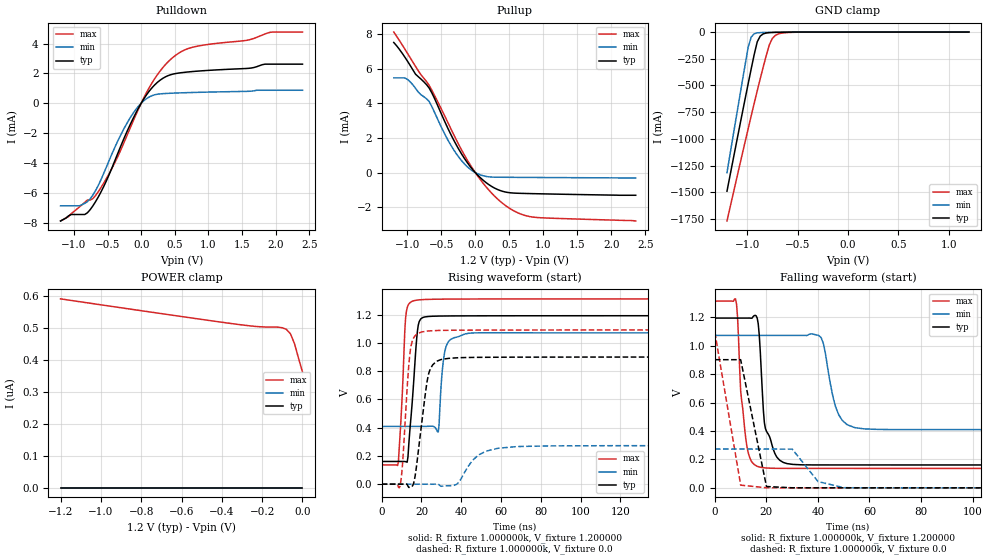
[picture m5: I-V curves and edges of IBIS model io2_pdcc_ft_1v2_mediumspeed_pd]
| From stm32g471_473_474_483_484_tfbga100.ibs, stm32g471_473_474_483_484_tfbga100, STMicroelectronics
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|   Model io2_pdcc_ft_1v2_mediumspeed_pd
[Model]  io2_pdcc_ft_1v2_mediumspeed_pd
Model_type I/O
Polarity   Non-Inverting
Enable   Active-Low
Vinl =   0.360000V
Vinh =   0.840000V
Vmeas =  0.600000V
Cref =   30.000000pF
Rref =   100.000000M
Vref =   0.0V
C_comp   3.923200pF   3.103700pF   4.923200pF
[Temperature Range]   25.000000   -40.000000   0.125000k
[Pullup Reference]   1.200000V   1.080000V   1.320000V
[Pulldown Reference]   0.0V   0.0V   0.0V
[POWER Clamp Reference]   1.200000V   1.080000V   1.320000V
[GND Clamp Reference]   0.0V   0.0V   0.0V
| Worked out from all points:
|   slope of the pulldown table from 0 to 0.18 V, typ, clamps not added: 160 ohm
|   slope of the pullup table from 0 to 0.18 V, typ, clamps not added: 281 ohm
|   GND clamp passes 1 mA (typ) near -0.58 V on its own axis
|   rising waveform, R_fixture 1.000000k, V_fixture 1.200000: 20-80 % time 3.26ns typ, 2.49ns min, 2.26ns max; typ from 0.161 V to 1.19 V
|   rising waveform, R_fixture 1.000000k, V_fixture 0.0: 20-80 % time 4.78ns typ, 9.71ns min, 2.98ns max; typ from 0 V to 0.901 V
|   falling waveform, R_fixture 1.000000k, V_fixture 1.200000: 20-80 % time 3.5ns typ, 4.5ns min, 2.72ns max; typ from 1.19 V to 0.161 V
|   falling waveform, R_fixture 1.000000k, V_fixture 0.0: 20-80 % time 6.07ns typ, 7.17ns min, 6.11ns max; typ from 0.901 V to 0 V
[Pulldown]
|Voltage   I(typ)   I(min)   I(max)
-1.2V     -7.9mA     -6.879mA   -7.9mA
-920mV    -7.463mA   -6.879mA   -6.96mA
-720mV    -6.893mA   -6.163mA   -6.401mA
-440mV    -4.389mA   -3.449mA   -4.412mA
-120mV    -1.022mA   -674.6uA   -1.201mA
80mV      569.2uA    307.2uA    721.9uA
320mV     1.664mA    639.8uA    2.378mA
520mV     1.996mA    684uA      3.24mA
760mV     2.123mA    719uA      3.749mA
1.6V      2.341mA    798.9uA    4.245mA
1.92V     2.619mA    869.6uA    4.756mA
2.4V      2.619mA    869.6uA    4.774mA
[Pullup]
|Voltage   I(typ)   I(min)   I(max)
-1.2V     7.53mA     5.482mA    8.135mA
-1V       6.461mA    5.401mA    6.913mA
-880mV    5.698mA    4.884mA    6.147mA
-680mV    4.901mA    4.121mA    5.054mA
-360mV    2.208mA    1.588mA    2.539mA
-240mV    1.328mA    879.1uA    1.591mA
-120mV    590.4uA    347.2uA    740.8uA
120mV     -457uA     -187.5uA   -639uA
400mV     -1.08mA    -267.8uA   -1.772mA
600mV     -1.19mA    -273.6uA   -2.279mA
840mV     -1.216mA   -279.5uA   -2.568mA
2.36V     -1.31mA    -310uA     -2.8mA
[GND_clamp]
|Voltage   I(typ)   I(min)   I(max)
-1.2V     -1.489A    -1.316A    -1.768A
-990mV    -483.9mA   -143.3mA   -905.1mA
-960mV    -345.5mA   -47.07mA   -785.1mA
-930mV    -210.2mA   -16.8mA    -666.5mA
-900mV    -91.91mA   -7.911mA   -550mA
-870mV    -37.66mA   -5.181mA   -436mA
-780mV    -5.842mA   -2.737mA   -119.5mA
-750mV    -4.316mA   -2.184mA   -59.88mA
-720mV    -3.389mA   -1.679mA   -31.04mA
-660mV    -2.131mA   -841.3uA   -10.47mA
-480mV    -203.8uA   -17.73uA   -1.431mA
1.2V      31.2uA     22.33uA    39.47uA
[POWER_clamp]
|Voltage   I(typ)   I(min)   I(max)
-1.2V     0A         0A         592.1nA
-600mV    0A         0A         536.8nA
-320mV    0A         0A         512.1nA
-220mV    0A         0A         505.2nA
-120mV    0A         0A         503.5nA
-100mV    0A         0A         501.6nA
-80mV     0A         0A         496.5nA
-60mV     0A         0A         482.9nA
-40mV     0A         0A         452.5nA
-20mV     0A         0A         407nA
0V        0A         0A         363nA
[Ramp]
| variable   typ   min   max
dV/dt_r  0.69876/3.19113n   0.60672/10.85553n   0.77363/2.53119n
dV/dt_f  0.70652/3.04534n   0.62715/3.51837n   0.77927/2.50650n
R_load = 10.000000k
[Rising Waveform]
R_fixture= 1.000000k
V_fixture= 1.200000
V_fixture_min= 1.080000
V_fixture_max= 1.320000
|time   V(typ)   V(min)   V(max)
0s        160.8mV    408.9mV    136.6mV
8.408ns   160.8mV    408.9mV    157.9mV
12.01ns   159.4mV    408.9mV    1.176V
15.22ns   556.2mV    408.9mV    1.295V
18.02ns   1.091V     408.9mV    1.305V
21.62ns   1.185V     409.3mV    1.309V
28.43ns   1.191V     368.9mV    1.311V
32.03ns   1.192V     958.3mV    1.312V
42.04ns   1.193V     1.065V     1.312V
199.4ns   1.194V     1.072V     1.313V
[Rising Waveform]
R_fixture= 1.000000k
V_fixture= 0.0
V_fixture_min= 0.0
V_fixture_max= 0.0
|time   V(typ)   V(min)   V(max)
0s        35.3nV     40.11nV    16.5uV
9.209ns   -6.5uV     3.33uV     -13.32mV
10.41ns   -17.22uV   3.356uV    129.3mV
14.41ns   -21.79mV   3.285uV    949.6mV
16.82ns   58.16mV    2.843uV    1.052V
20.02ns   420.8mV    -789.9nV   1.079V
23.62ns   783.3mV    -14.76uV   1.086V
30.03ns   883.7mV    -15.21mV   1.09V
58.86ns   899.6mV    255.2mV    1.092V
199.4ns   901.1mV    272.8mV    1.093V
[Falling Waveform]
R_fixture= 1.000000k
V_fixture= 1.200000
V_fixture_min= 1.080000
V_fixture_max= 1.320000
|time   V(typ)   V(min)   V(max)
0s        1.194V     1.073V     1.313V
8.008ns   1.194V     1.073V     1.329V
12.01ns   1.194V     1.073V     342.8mV
16.42ns   1.194V     1.073V     151.6mV
19.62ns   416.7mV    1.073V     140.2mV
26.83ns   177.1mV    1.073V     137mV
41.24ns   161.2mV    1.056V     136.8mV
47.25ns   161.1mV    551.1mV    136.8mV
54.45ns   161.1mV    423mV      136.8mV
199.4ns   160.8mV    409.7mV    136.6mV
[Falling Waveform]
R_fixture= 1.000000k
V_fixture= 0.0
V_fixture_min= 0.0
V_fixture_max= 0.0
|time   V(typ)   V(min)   V(max)
0s        901.5mV    272.9mV    1.093V
10.01ns   901.3mV    272.9mV    19.08mV
20.02ns   9.417mV    272.9mV    454.9uV
30.03ns   405.1uV    272.5mV    242.7uV
40.04ns   214.7uV    44.03mV    207.2uV
50.05ns   183.7uV    1.182mV    173.3uV
991ns     48.17nV    21.32nV    16.79uV
